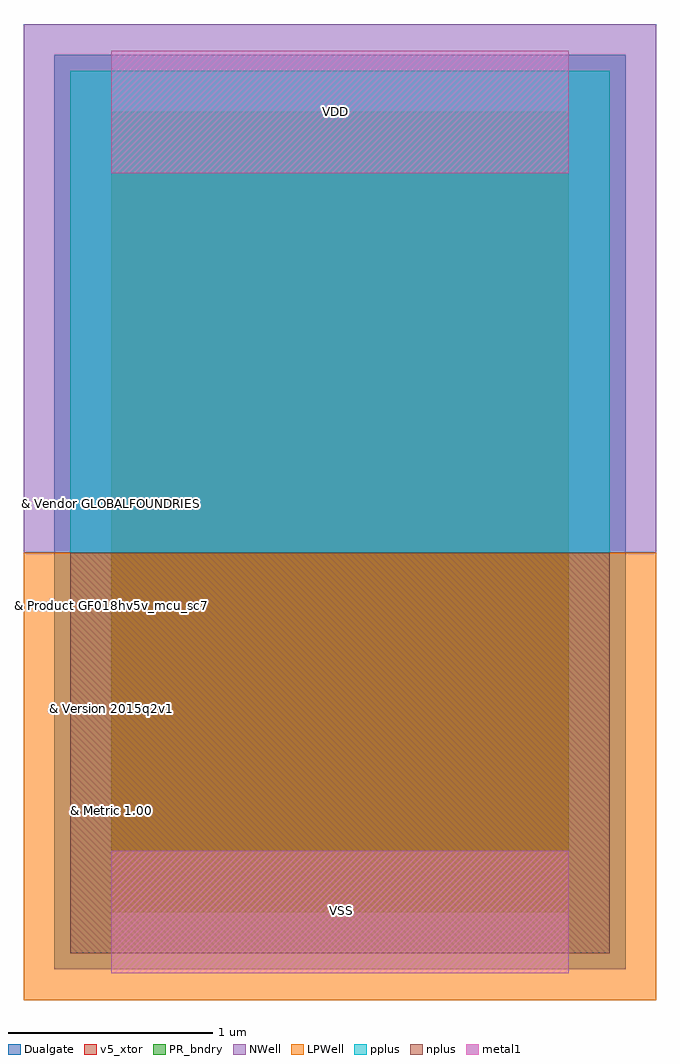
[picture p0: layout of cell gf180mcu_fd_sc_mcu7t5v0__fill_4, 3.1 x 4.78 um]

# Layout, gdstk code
import gdstk
lib = gdstk.Library(unit=1e-6, precision=1e-09)
def R(c, l, rs):  # rectangles x0, y0, x1, y1
    for r in rs: c.add(gdstk.rectangle(r[:2], r[2:], *l))
PR_bndry = (0, 0)
NWell = (21, 0)
pplus = (31, 0)
nplus = (32, 0)
metal1 = (34, 0)
Dualgate = (55, 0)
v5_xtor = (112, 1)
LPWell = (204, 0)

gf180mcu_fd_sc_mcu7t5v0_ = lib.new_cell('gf180mcu_fd_sc_mcu7t5v0__fill_4')
R(gf180mcu_fd_sc_mcu7t5v0_, PR_bndry, [(0,0,2.24,3.92)])
R(gf180mcu_fd_sc_mcu7t5v0_, NWell, [(-0.43,1.76,2.67,4.35)])
R(gf180mcu_fd_sc_mcu7t5v0_, pplus, [(-0.2,1.76,2.44,4.12)])
R(gf180mcu_fd_sc_mcu7t5v0_, nplus, [(-0.2,-0.2,2.44,1.76)])
R(gf180mcu_fd_sc_mcu7t5v0_, metal1, [(0,-0.3,2.24,0.3), (0,3.62,2.24,4.22)])
R(gf180mcu_fd_sc_mcu7t5v0_, Dualgate, [(-0.28,-0.28,2.52,4.2)])
R(gf180mcu_fd_sc_mcu7t5v0_, v5_xtor, [(0,0,2.24,3.92)])
R(gf180mcu_fd_sc_mcu7t5v0_, LPWell, [(-0.43,-0.43,2.67,1.76)])
gf180mcu_fd_sc_mcu7t5v0_.add(gdstk.Label('VDD', (1.1,3.92), layer=34, texttype=10))
gf180mcu_fd_sc_mcu7t5v0_.add(gdstk.Label('VSS', (1.125,0.01), layer=34, texttype=10))
gf180mcu_fd_sc_mcu7t5v0_.add(gdstk.Label('& Vendor GLOBALFOUNDRIES', (0,2), layer=63, texttype=63))
gf180mcu_fd_sc_mcu7t5v0_.add(gdstk.Label('& Product GF018hv5v_mcu_sc7', (0,1.5), layer=63, texttype=63))
gf180mcu_fd_sc_mcu7t5v0_.add(gdstk.Label('& Version 2015q2v1', (0,1), layer=63, texttype=63))
gf180mcu_fd_sc_mcu7t5v0_.add(gdstk.Label('& Metric 1.00', (0,0.5), layer=63, texttype=63))

lib.write_gds('gf180mcu_fd_sc_mcu7t5v0__fill_4.gds')
